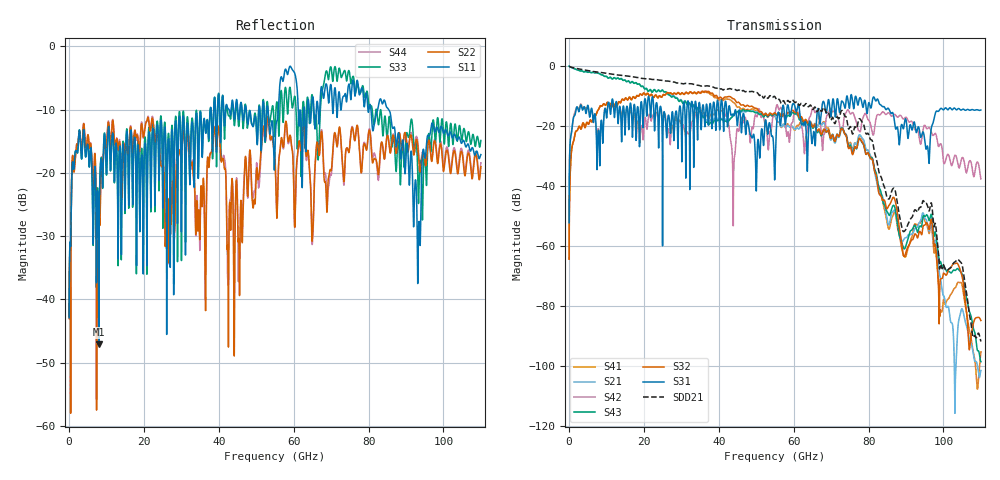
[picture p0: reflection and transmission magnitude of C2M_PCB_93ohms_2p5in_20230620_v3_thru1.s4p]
! Info: Touchstone file created by Circ.  Input file=C2M_PCB_93ohms_2p5in_20230620_v3.circ
# Hz S RI R 50
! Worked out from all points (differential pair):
!   11000 points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, 10 MHz to 110 GHz, reference 50 ohm
!   strongest paths, dB at 10 MHz, 27.51 GHz, 55.01 GHz, 82.51 GHz, 110 GHz:
!     S31: -52.2, -15.5, -34.8, -11.2, -14.7
!     S32: -64.3, -9.3, -15.7, -40.7, -84.7
!     S43: -0.1, -10.4, -16.0, -39.0, -98.5
!     S42: -52.0, -19.7, -15.8, -16.1, -37.6
!     S21: -0.1, -10.0, -16.6, -40.4, -101.4
!     S41: -64.3, -9.5, -16.7, -39.2, -95.2
!   taken as a pair (ports 3,1 in; 4,2 out), SDD21 dB: -0.1, -5.3, -10.3, -33.8, -91.7
!   lowest |S11| = -47.1 dB at 7.93 GHz (marker M1), VSWR 1.01, Z = 50.1 + j0.429 ohm
!   |S11| at or under -10 dB: start of sweep to 37.7 GHz; 47.33 GHz to 50.69 GHz (3.356 GHz wide, 6.85 % of centre); 85.36 GHz to end of sweep (the widest 3 of 24)
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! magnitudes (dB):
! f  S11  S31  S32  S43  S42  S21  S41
! 10 MHz  -42.9  -52.2  -64.3  -0.1  -52.0  -0.1  -64.3
! 2.45 GHz  -15.4  -14.8  -20.7  -1.4  -14.2  -1.4  -20.7
! 7.93 GHz  -47.1  -21.8  -14.3  -2.5  -22.4  -2.5  -14.3
! 77.86 GHz  -7.1  -10.7  -24.5  -24.6  -21.6  -23.2  -23.3
! 89.48 GHz  -17.1  -19.9  -63.4  -60.9  -17.5  -57.6  -63.4
! 94.72 GHz  -16.4  -22.4  -53.1  -49.8  -20.3  -49.4  -50.2
! 110 GHz  -17.1  -14.7  -84.7  -98.5  -37.6  -101.4  -95.2
